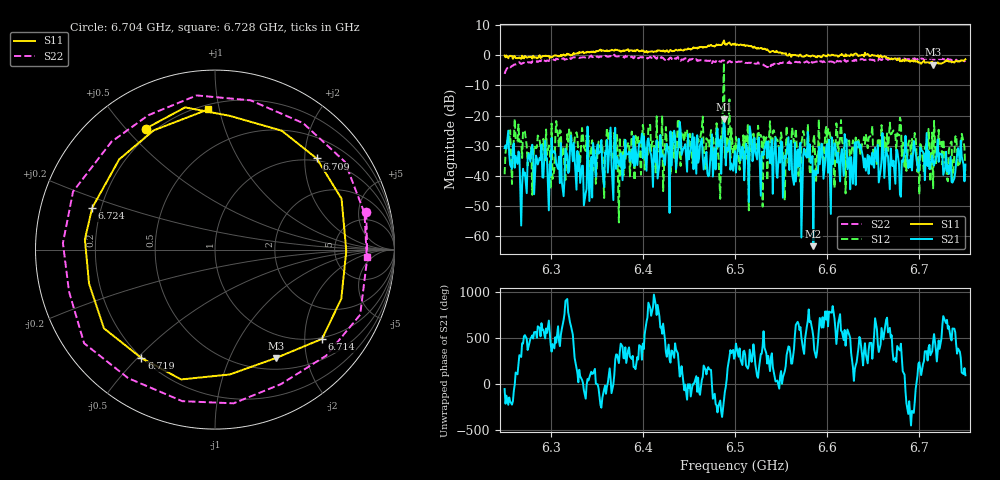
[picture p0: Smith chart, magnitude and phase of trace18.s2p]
# Hz S RI R 50
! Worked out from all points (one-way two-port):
!   401 points, 6.25 GHz to 6.75 GHz, reference 50 ohm
!   highest |S21| = -21.12 dB at 6.488 GHz (marker M1); lowest = -63.2 dB at 6.585 GHz (marker M2)
!   lowest |S11| = -3.2 dB at 6.715 GHz (marker M3), VSWR 5.52, Z = 32.5 - j75.6 ohm
!   |S11| at or under -10 dB: nowhere
!   |S22| runs from -6.2 to 0.1 dB; largest |S21 - S12| = 0.66
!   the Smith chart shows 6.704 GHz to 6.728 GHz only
!   S11 on the Smith chart (normalised r, x): 6.704 GHz: 0.17, +0.57; 6.709 GHz: 0.94, +2.28; 6.714 GHz: 0.97, -2.43; 6.719 GHz: 0.20, -0.51; 6.724 GHz: 0.17, +0.16; 6.728 GHz: 0.23, +0.93
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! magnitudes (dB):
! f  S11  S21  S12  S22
! 6.25 GHz  -0.1  -30.8  -39.4  -6.2
! 6.27 GHz  -1.0  -37.6  -24.9  -2.6
! 6.279 GHz  -0.5  -31.4  -30.6  -2.6
! 6.334 GHz  0.9  -36.6  -24.1  -0.8
! 6.362 GHz  1.3  -38.9  -28.0  -0.6
! 6.376 GHz  1.1  -32.5  -39.6  -0.5
! 6.418 GHz  1.5  -36.2  -28.7  -0.9
! 6.484 GHz  3.3  -27.9  -47.5  -2.2
! 6.488 GHz  4.8  -21.1  -2.6  -1.8
! 6.5 GHz  3.8  -31.8  -35.7  -2.5
! 6.584 GHz  -0.2  -33.4  -34.3  -2.5
! 6.585 GHz  -0.2  -63.2  -28.4  -2.4
! 6.608 GHz  -0.1  -29.2  -44.0  -2.6
! 6.668 GHz  -1.1  -44.4  -22.4  -1.3
! 6.704 GHz  -2.2  -32.0  -35.2  -1.2
! 6.709 GHz  -2.4  -36.7  -35.4  -1.6
! 6.714 GHz  -2.2  -33.3  -25.6  -0.9
! 6.715 GHz  -3.2  -35.4  -44.1  -1.5
! 6.719 GHz  -2.7  -32.1  -30.3  -1.6
! 6.724 GHz  -2.8  -32.9  -28.7  -1.3
! 6.728 GHz  -2.1  -37.2  -35.7  -1.4
! 6.75 GHz  -1.4  -36.2  -39.8  -1.9
